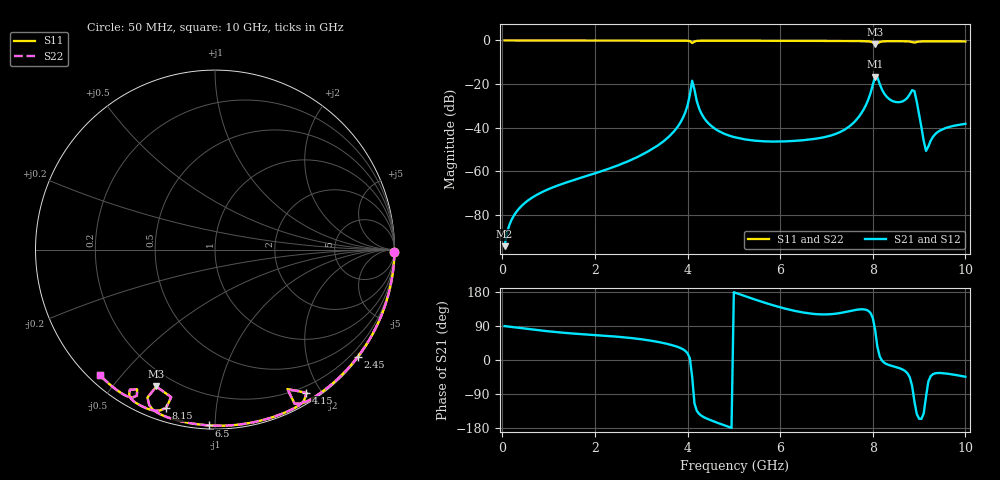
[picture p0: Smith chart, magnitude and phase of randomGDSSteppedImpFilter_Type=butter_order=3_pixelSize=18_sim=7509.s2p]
! freq	dB(S11)	phase(S11)	dB(S12)	phase(S12)
!  dB(S21)	phase(S21)	dB(S22)	phase(S22)
!S-par simulation data
#  GHz  S  DB  R 50
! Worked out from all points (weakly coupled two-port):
!   200 points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, 50 MHz to 10 GHz, reference 50 ohm
!   highest |S21| = -16.63 dB at 8.05 GHz (marker M1); lowest = -94.5 dB at 50 MHz (marker M2)
!   lowest |S11| = -1.6 dB at 8.05 GHz (marker M3), VSWR 10.75, Z = 6.65 - j32.6 ohm
!   |S11| at or under -10 dB: nowhere
!   |S22| runs from -1.6 to 0.0 dB; largest |S21 - S12| = 0
!   S11 on the Smith chart (normalised r, x): 50 MHz: open; 2.45 GHz: 0.03, -2.99; 4.15 GHz: 0.12, -1.82; 6.5 GHz: 0.02, -0.97; 8.15 GHz: 0.06, -0.74; 10 GHz: 0.03, -0.44
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0.05  -0.00 -0.8  -94.45 89.5  -94.45 89.5  -0.00 -0.8
1.75  -0.03 -26.6  -62.68 67.8  -62.68 67.8  -0.03 -26.6
2.45  -0.05 -37.0  -57.71 61.7  -57.71 61.7  -0.05 -37.0
3.4  -0.07 -50.8  -47.60 46.8  -47.60 46.8  -0.07 -50.8
3.9  -0.10 -58.6  -35.56 28.4  -35.56 28.4  -0.10 -58.6
4.1  -1.15 -62.5  -18.49 -44.1  -18.49 -44.1  -1.15 -62.5
4.15  -0.48 -57.4  -22.57 -114.7  -22.57 -114.7  -0.48 -57.4
4.25  -0.14 -60.9  -31.20 -142.2  -31.20 -142.2  -0.14 -60.9
4.4  -0.11 -63.6  -36.83 -153.7  -36.83 -153.7  -0.11 -63.6
5.05  -0.11 -72.9  -44.58 176.7  -44.58 176.7  -0.11 -72.9
6.5  -0.18 -91.9  -45.79 125.3  -45.79 125.3  -0.18 -91.9
6.7  -0.19 -94.4  -45.32 121.9  -45.32 121.9  -0.19 -94.4
7.6  -0.26 -106.2  -37.48 131.5  -37.48 131.5  -0.26 -106.2
7.85  -0.35 -110.4  -29.76 132.7  -29.76 132.7  -0.35 -110.4
8.05  -1.62 -113.2  -16.63 80.2  -16.63 80.2  -1.62 -113.2
8.15  -0.69 -107.2  -19.99 9.4  -19.99 9.4  -0.69 -107.2
8.35  -0.33 -112.5  -26.83 -13.3  -26.83 -13.3  -0.33 -112.5
8.6  -0.34 -116.6  -28.24 -22.7  -28.24 -22.7  -0.34 -116.6
8.9  -1.00 -119.1  -23.27 -110.0  -23.27 -110.0  -1.01 -119.1
9.15  -0.41 -121.7  -50.69 -96.8  -50.69 -96.8  -0.41 -121.7
9.4  -0.40 -125.1  -42.07 -34.3  -42.07 -34.3  -0.40 -125.1
10  -0.46 -132.4  -38.28 -44.2  -38.28 -44.2  -0.46 -132.4
